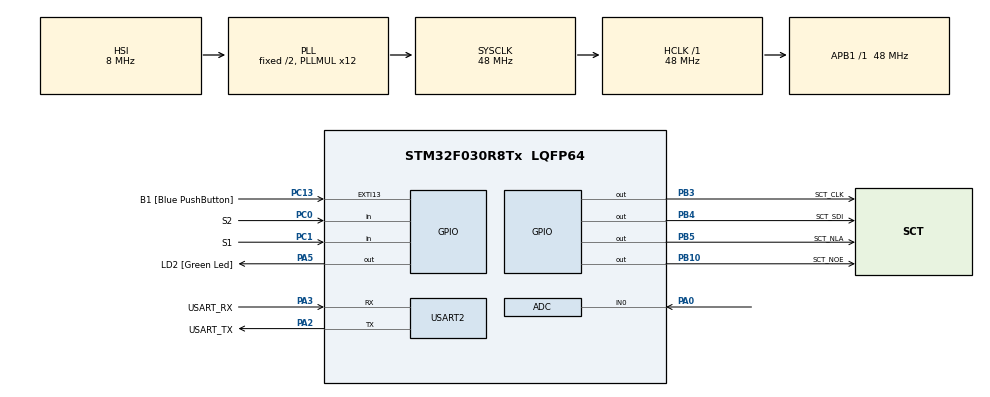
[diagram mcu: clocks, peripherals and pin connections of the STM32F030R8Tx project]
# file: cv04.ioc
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ADC.ContinuousConvMode=ENABLE
ADC.Overrun=ADC_OVR_DATA_OVERWRITTEN
ADC.SamplingTime=ADC_SAMPLETIME_239CYCLES_5
Mcu.Family=STM32F0
Mcu.Name=STM32F030R8Tx
Mcu.Package=LQFP64
NVIC.ADC1_IRQn=true\:0\:0\:false\:false\:true\:true\:true
PA0.Mode=IN0
PA0.Signal=ADC_IN0
PA13.GPIO_Label=TMS
PA13.Mode=Serial_Wire
PA13.Signal=SYS_SWDIO
PA14.GPIO_Label=TCK
PA14.Mode=Serial_Wire
PA14.Signal=SYS_SWCLK
PA2.GPIO_Label=USART_TX
PA2.GPIO_Mode=GPIO_MODE_AF_PP
PA2.GPIO_PuPd=GPIO_NOPULL
PA2.GPIO_Speed=GPIO_SPEED_FREQ_LOW
PA2.Mode=Asynchronous
PA2.Signal=USART2_TX
PA3.GPIO_Label=USART_RX
PA3.GPIO_Mode=GPIO_MODE_AF_PP
PA3.GPIO_PuPd=GPIO_NOPULL
PA3.GPIO_Speed=GPIO_SPEED_FREQ_LOW
PA3.Mode=Asynchronous
PA3.Signal=USART2_RX
PA5.GPIO_Label=LD2 [Green Led]
PA5.GPIO_Mode=GPIO_MODE_OUTPUT_PP
PA5.GPIO_PuPd=GPIO_NOPULL
PA5.GPIO_Speed=GPIO_SPEED_FREQ_LOW
PA5.Signal=GPIO_Output
PB10.GPIO_Label=SCT_NOE
PB10.Signal=GPIO_Output
PB3.GPIO_Label=SCT_CLK
PB3.Signal=GPIO_Output
PB4.GPIO_Label=SCT_SDI
PB4.Signal=GPIO_Output
PB5.GPIO_Label=SCT_NLA
PB5.Signal=GPIO_Output
PC0.GPIO_Label=S2
PC0.GPIO_PuPd=GPIO_PULLUP
PC0.Signal=GPIO_Input
PC1.GPIO_Label=S1
PC1.GPIO_PuPd=GPIO_PULLUP
PC1.Signal=GPIO_Input
PC13.GPIO_Label=B1 [Blue PushButton]
PC13.GPIO_ModeDefaultEXTI=GPIO_MODE_IT_FALLING
PC13.Signal=GPXTI13
PC14-OSC32_IN.Mode=LSE-External-Oscillator
PC14-OSC32_IN.Signal=RCC_OSC32_IN
PC15-OSC32_OUT.Mode=LSE-External-Oscillator
PC15-OSC32_OUT.Signal=RCC_OSC32_OUT
PF0-OSC_IN.Mode=HSE-External-Clock-Source
PF0-OSC_IN.Signal=RCC_OSC_IN
PF1-OSC_OUT.Signal=RCC_OSC_OUT
ProjectManager.HeapSize=0x200
ProjectManager.StackSize=0x400
ProjectManager.TargetToolchain=STM32CubeIDE
RCC.AHBFreq_Value=48000000
RCC.APB1Freq_Value=48000000
RCC.APB1TimFreq_Value=48000000
RCC.HCLKFreq_Value=48000000
RCC.PLLMUL=RCC_PLL_MUL12
RCC.SYSCLKFreq_VALUE=48000000
RCC.SYSCLKSource=RCC_SYSCLKSOURCE_PLLCLK
USART2.VirtualMode-Asynchronous=VM_ASYNC
VP_ADC_TempSens_Input.Mode=IN-TempSens
VP_ADC_Vref_Input.Mode=IN-Vrefint
board=NUCLEO-F030R8

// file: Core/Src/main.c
/* USER CODE BEGIN Header */
/**
  ******************************************************************************
  * @file           : main.c
  * @brief          : Main program body
  ******************************************************************************
  * @attention
  *
  * <h2><center>&copy; Copyright (c) 2020 STMicroelectronics.
  * All rights reserved.</center></h2>
  *
  * This software component is licensed by ST under BSD 3-Clause license,
  * the "License"; You may not use this file except in compliance with the
  * License. You may obtain a copy of the License at:
  *                        opensource.org/licenses/BSD-3-Clause
  *
  ******************************************************************************
  */
/* USER CODE END Header */
#include "main.h"

/* USER CODE BEGIN Includes */
#include "sct.h"

/* USER CODE END Includes */

/* USER CODE BEGIN PD */
#define ADC_Q 14  //vyraznejsi je 14ctka
/* Temperature sensor calibration value address */
#define TEMP110_CAL_ADDR ((uint16_t*) ((uint32_t) 0x1FFFF7C2))  ///precteni hodnoty v pametove bunce
#define TEMP30_CAL_ADDR ((uint16_t*) ((uint32_t) 0x1FFFF7B8))
/* Internal voltage reference calibration value address */
#define VREFINT_CAL_ADDR ((uint16_t*) ((uint32_t) 0x1FFFF7BA))
/* USER CODE END PD */

ADC_HandleTypeDef hadc;

UART_HandleTypeDef huart2;

/* USER CODE BEGIN PV */
static volatile uint32_t raw_pot;
static volatile uint32_t raw_temp;
static volatile uint32_t raw_volt;

/* USER CODE END PV */

void SystemClock_Config(void);
static void MX_GPIO_Init(void);
static void MX_USART2_UART_Init(void);
static void MX_ADC_Init(void);

/* USER CODE BEGIN 0 */

void HAL_ADC_ConvCpltCallback(ADC_HandleTypeDef* hadc)  //rozlisovat, ktery kanal se prevedl
{
	static uint8_t channel = 0;  // pokud se jedna o kanal nula tak se provede ten puvodni kod
	if(channel == 0){
		static uint32_t avg_pot;
		raw_pot = avg_pot >> ADC_Q;  //rawpot dispaly old value
		avg_pot -= raw_pot;
		avg_pot += HAL_ADC_GetValue(hadc); //add actual new value
	}
	else if (channel == 1){  //kanal je roven 1, tak se bude ukladat teplota
			raw_temp = HAL_ADC_GetValue(hadc);
		}

		else if (channel == 2){  //je roven kanal 2, tak uloz napeti
				raw_volt = HAL_ADC_GetValue(hadc);
			}

		if (__HAL_ADC_GET_FLAG(hadc, ADC_FLAG_EOS)) channel = 0;		//nastaveni dobehu kanalu
		else channel++;
}

/* USER CODE END 0 */

int main(void)
{

  /* MCU Configuration--------------------------------------------------------*/

  /* Reset of all peripherals, Initializes the Flash interface and the Systick. */
  HAL_Init();

  /* Configure the system clock */
  SystemClock_Config();

  /* Initialize all configured peripherals */
  MX_GPIO_Init();
  MX_USART2_UART_Init();
  MX_ADC_Init();
  /* USER CODE BEGIN 2 */

  sct_init();

  HAL_ADCEx_Calibration_Start(&hadc);
  HAL_ADC_Start_IT(&hadc);

  /* USER CODE END 2 */

  /* Infinite loop */
  while (1)
  {

    /* USER CODE BEGIN 3 */
	  static enum { SHOW_POT, SHOW_VOLT, SHOW_TEMP } state = SHOW_POT;  //stavovy automat, stara se reakce na tlacitka s1 as2 nabyva hodnot pot volt a temp
	 	  static uint32_t delay;
	 	 if(state == SHOW_POT) {  //zobrazuje trimr
	 	  sct_value(raw_pot * 500/4096, raw_pot * 9 / 4096);
	 	 }

	 	 	 else if(state == SHOW_TEMP) {  //zobrazuje teplotu
				 int32_t temperature = (raw_temp - (int32_t)(*TEMP30_CAL_ADDR));
				 temperature = temperature * (int32_t)(110 - 30);
				 temperature = temperature / (int32_t)(*TEMP110_CAL_ADDR - *TEMP30_CAL_ADDR);  //definice pametovych mist
				 temperature = temperature + 30;

				 sct_value(temperature, raw_pot * 9 / 4096);  //zobrazujeme teplotu
	 			 }

	 	 	 else if (state == SHOW_VOLT){  //zobrazeni hodnoty napeti
	 			 uint32_t voltage = 330 * (*VREFINT_CAL_ADDR) / raw_volt;
	 			 sct_value(voltage, raw_pot * 9 / 4096);  //zobrazeni na displeji napeti
	 		 	 }

	 		  if(HAL_GPIO_ReadPin(S1_GPIO_Port, S1_Pin) == 0){
	 			  state = SHOW_VOLT;
	 			  delay = HAL_GetTick();
	 		  }

	 		  if(HAL_GPIO_ReadPin(S2_GPIO_Port, S2_Pin) == 0){
	 			  state = SHOW_TEMP;
	 			  delay = HAL_GetTick();
	 		  }

	 		 if(HAL_GetTick() > delay + 1000){  //vraceni SA do puvodniho stavu
	 			 state = SHOW_POT;
	 		 }
  }
  /* USER CODE END 3 */
}

void SystemClock_Config(void)
{
  RCC_OscInitTypeDef RCC_OscInitStruct = {0};
  RCC_ClkInitTypeDef RCC_ClkInitStruct = {0};

  /** Initializes the RCC Oscillators according to the specified parameters
  * in the RCC_OscInitTypeDef structure.
  */
  RCC_OscInitStruct.OscillatorType = RCC_OSCILLATORTYPE_HSI|RCC_OSCILLATORTYPE_HSI14;
  RCC_OscInitStruct.HSIState = RCC_HSI_ON;
  RCC_OscInitStruct.HSI14State = RCC_HSI14_ON;
  RCC_OscInitStruct.HSICalibrationValue = RCC_HSICALIBRATION_DEFAULT;
  RCC_OscInitStruct.HSI14CalibrationValue = 16;
  RCC_OscInitStruct.PLL.PLLState = RCC_PLL_ON;
  RCC_OscInitStruct.PLL.PLLSource = RCC_PLLSOURCE_HSI;
  RCC_OscInitStruct.PLL.PLLMUL = RCC_PLL_MUL12;
  RCC_OscInitStruct.PLL.PREDIV = RCC_PREDIV_DIV1;
  if (HAL_RCC_OscConfig(&RCC_OscInitStruct) != HAL_OK)
  {
    Error_Handler();
  }
  /** Initializes the CPU, AHB and APB buses clocks
  */
  RCC_ClkInitStruct.ClockType = RCC_CLOCKTYPE_HCLK|RCC_CLOCKTYPE_SYSCLK
                              |RCC_CLOCKTYPE_PCLK1;
  RCC_ClkInitStruct.SYSCLKSource = RCC_SYSCLKSOURCE_PLLCLK;
  RCC_ClkInitStruct.AHBCLKDivider = RCC_SYSCLK_DIV1;
  RCC_ClkInitStruct.APB1CLKDivider = RCC_HCLK_DIV1;

  if (HAL_RCC_ClockConfig(&RCC_ClkInitStruct, FLASH_LATENCY_1) != HAL_OK)
  {
    Error_Handler();
  }
}

static void MX_ADC_Init(void)
{

  ADC_ChannelConfTypeDef sConfig = {0};

  /** Configure the global features of the ADC (Clock, Resolution, Data Alignment and number of conversion)
  */
  hadc.Instance = ADC1;
  hadc.Init.ClockPrescaler = ADC_CLOCK_ASYNC_DIV1;
  hadc.Init.Resolution = ADC_RESOLUTION_12B;
  hadc.Init.DataAlign = ADC_DATAALIGN_RIGHT;
  hadc.Init.ScanConvMode = ADC_SCAN_DIRECTION_FORWARD;
  hadc.Init.EOCSelection = ADC_EOC_SINGLE_CONV;
  hadc.Init.LowPowerAutoWait = DISABLE;
  hadc.Init.LowPowerAutoPowerOff = DISABLE;
  hadc.Init.ContinuousConvMode = ENABLE;
  hadc.Init.DiscontinuousConvMode = DISABLE;
  hadc.Init.ExternalTrigConv = ADC_SOFTWARE_START;
  hadc.Init.ExternalTrigConvEdge = ADC_EXTERNALTRIGCONVEDGE_NONE;
  hadc.Init.DMAContinuousRequests = DISABLE;
  hadc.Init.Overrun = ADC_OVR_DATA_OVERWRITTEN;
  if (HAL_ADC_Init(&hadc) != HAL_OK)
  {
    Error_Handler();
  }
  /** Configure for the selected ADC regular channel to be converted.
  */
  sConfig.Channel = ADC_CHANNEL_0;
  sConfig.Rank = ADC_RANK_CHANNEL_NUMBER;
  sConfig.SamplingTime = ADC_SAMPLETIME_239CYCLES_5;
  if (HAL_ADC_ConfigChannel(&hadc, &sConfig) != HAL_OK)
  {
    Error_Handler();
  }
  /** Configure for the selected ADC regular channel to be converted.
  */
  sConfig.Channel = ADC_CHANNEL_TEMPSENSOR;
  if (HAL_ADC_ConfigChannel(&hadc, &sConfig) != HAL_OK)
  {
    Error_Handler();
  }
  /** Configure for the selected ADC regular channel to be converted.
  */
  sConfig.Channel = ADC_CHANNEL_VREFINT;
  if (HAL_ADC_ConfigChannel(&hadc, &sConfig) != HAL_OK)
  {
    Error_Handler();
  }

}

static void MX_USART2_UART_Init(void)
{

  huart2.Instance = USART2;
  huart2.Init.BaudRate = 38400;
  huart2.Init.WordLength = UART_WORDLENGTH_8B;
  huart2.Init.StopBits = UART_STOPBITS_1;
  huart2.Init.Parity = UART_PARITY_NONE;
  huart2.Init.Mode = UART_MODE_TX_RX;
  huart2.Init.HwFlowCtl = UART_HWCONTROL_NONE;
  huart2.Init.OverSampling = UART_OVERSAMPLING_16;
  huart2.Init.OneBitSampling = UART_ONE_BIT_SAMPLE_DISABLE;
  huart2.AdvancedInit.AdvFeatureInit = UART_ADVFEATURE_NO_INIT;
  if (HAL_UART_Init(&huart2) != HAL_OK)
  {
    Error_Handler();
  }

}

static void MX_GPIO_Init(void)
{
  GPIO_InitTypeDef GPIO_InitStruct = {0};

  /* GPIO Ports Clock Enable */
  __HAL_RCC_GPIOC_CLK_ENABLE();
  __HAL_RCC_GPIOF_CLK_ENABLE();
  __HAL_RCC_GPIOA_CLK_ENABLE();
  __HAL_RCC_GPIOB_CLK_ENABLE();

  /*Configure GPIO pin Output Level */
  HAL_GPIO_WritePin(LD2_GPIO_Port, LD2_Pin, GPIO_PIN_RESET);

  /*Configure GPIO pin Output Level */
  HAL_GPIO_WritePin(GPIOB, SCT_NOE_Pin|SCT_CLK_Pin|SCT_SDI_Pin|SCT_NLA_Pin, GPIO_PIN_RESET);

  /*Configure GPIO pin : B1_Pin */
  GPIO_InitStruct.Pin = B1_Pin;
  GPIO_InitStruct.Mode = GPIO_MODE_IT_FALLING;
  GPIO_InitStruct.Pull = GPIO_NOPULL;
  HAL_GPIO_Init(B1_GPIO_Port, &GPIO_InitStruct);

  /*Configure GPIO pins : S2_Pin S1_Pin */
  GPIO_InitStruct.Pin = S2_Pin|S1_Pin;
  GPIO_InitStruct.Mode = GPIO_MODE_INPUT;
  GPIO_InitStruct.Pull = GPIO_PULLUP;
  HAL_GPIO_Init(GPIOC, &GPIO_InitStruct);

  /*Configure GPIO pin : LD2_Pin */
  GPIO_InitStruct.Pin = LD2_Pin;
  GPIO_InitStruct.Mode = GPIO_MODE_OUTPUT_PP;
  GPIO_InitStruct.Pull = GPIO_NOPULL;
  GPIO_InitStruct.Speed = GPIO_SPEED_FREQ_LOW;
  HAL_GPIO_Init(LD2_GPIO_Port, &GPIO_InitStruct);

  /*Configure GPIO pins : SCT_NOE_Pin SCT_CLK_Pin SCT_SDI_Pin SCT_NLA_Pin */
  GPIO_InitStruct.Pin = SCT_NOE_Pin|SCT_CLK_Pin|SCT_SDI_Pin|SCT_NLA_Pin;
  GPIO_InitStruct.Mode = GPIO_MODE_OUTPUT_PP;
  GPIO_InitStruct.Pull = GPIO_NOPULL;
  GPIO_InitStruct.Speed = GPIO_SPEED_FREQ_LOW;
  HAL_GPIO_Init(GPIOB, &GPIO_InitStruct);

}

void Error_Handler(void)
{
}

/************************ (C) COPYRIGHT STMicroelectronics *****END OF FILE****/
